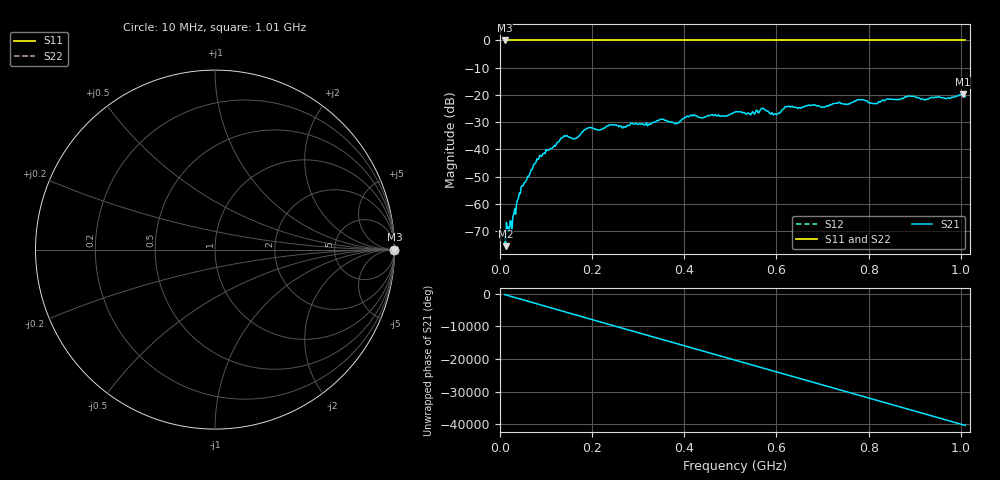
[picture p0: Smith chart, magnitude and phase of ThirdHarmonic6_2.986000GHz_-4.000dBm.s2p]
! 8/17/2025 8:29:42 AM
! C:\ANRITSUVNA\TEMP\TEMP.S2P
! CHANNEL.1
! TR.MEASUREMENT
! RAW.DATA
! RF.CORRECTION.OFF
! AVERAGING.OFF
! IF.BANDWIDTH: 5KHZ
! SWEEPTYPE:  FREQ.SWEEP(Linear)
! Reference Plane Port Info
! PORT:  PORT1  PORT2
! DISTANCE:  0  m  0  m
! TIME:  0  s  0  s
! PHASE.OFFSET:  0  deg.  0  deg.
! LOSS:  0  dB  0  dB
! REF.LOSS:  0  dB  0  dB
! REF.FREQ:  0  Hz  0  Hz
! Power Info
! POWER:  -20  dBm  -20  dBm
! EFF.POWER:  -20  dBm  -20  dBm
! SOURCE.ATTEN:  0  dB  0  dB
! TEST.ATTEN:  0  dB  0  dB
# GHZ S RI R 50.0
! FREQ.GHZ  S11RE  S11IM  S21RE  S21IM  S12RE  S12IM  S22RE  S22IM
!; PortSelection: Port_12
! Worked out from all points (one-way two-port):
!   501 points, 10 MHz to 1.01 GHz, reference 50 ohm
!   highest |S21| = -19.85 dB at 1.004 GHz (marker M1); lowest = -75.6 dB at 12 MHz (marker M2)
!   lowest |S11| = 0.0 dB at 10 MHz (marker M3)
!   |S11| at or under -10 dB: nowhere
!   |S22| runs from 0.0 to 0.0 dB; largest |S21 - S12| = 1.1
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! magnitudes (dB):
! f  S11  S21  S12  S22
! 10 MHz  0.0  -72.2  0.0  0.0
! 12 MHz  0.0  -75.6  0.0  0.0
! 30 MHz  0.0  -63.7  0.0  0.0
! 50 MHz  0.0  -53.5  0.0  0.0
! 84 MHz  0.0  -43.5  0.0  0.0
! 136 MHz  0.0  -35.7  0.0  0.0
! 162 MHz  0.0  -36.1  0.0  0.0
! 178 MHz  0.0  -33.7  0.0  0.0
! 194 MHz  0.0  -32.0  0.0  0.0
! 344 MHz  0.0  -29.4  0.0  0.0
! 382 MHz  0.0  -30.4  0.0  0.0
! 418 MHz  0.0  -27.7  0.0  0.0
! 510 MHz  0.0  -26.3  0.0  0.0
! 570 MHz  0.0  -24.9  0.0  0.0
! 598 MHz  0.0  -27.0  0.0  0.0
! 622 MHz  0.0  -24.3  0.0  0.0
! 678 MHz  0.0  -23.7  0.0  0.0
! 782 MHz  0.0  -21.7  0.0  0.0
! 814 MHz  0.0  -23.1  0.0  0.0
! 844 MHz  0.0  -21.6  0.0  0.0
! 1.004 GHz  0.0  -19.9  0.0  0.0
! 1.01 GHz  0.0  -20.6  0.0  0.0
